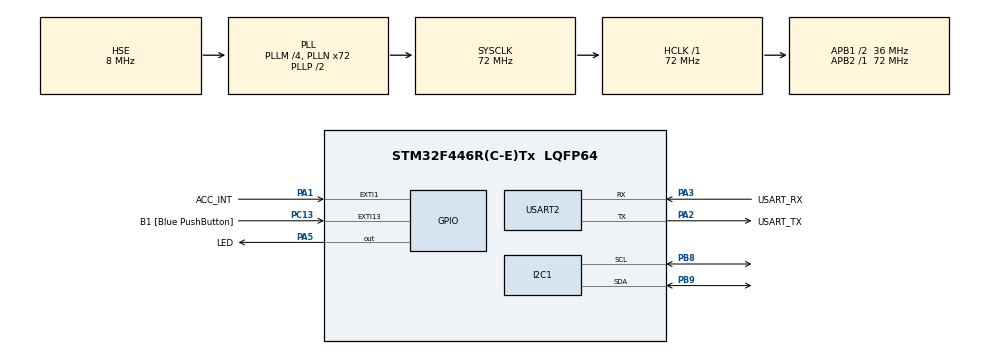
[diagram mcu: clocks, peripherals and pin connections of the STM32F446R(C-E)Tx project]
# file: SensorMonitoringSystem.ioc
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Dma.I2C1_RX.0.Direction=DMA_PERIPH_TO_MEMORY
Dma.I2C1_RX.0.FIFOMode=DMA_FIFOMODE_DISABLE
Dma.I2C1_RX.0.Instance=DMA1_Stream0
Dma.I2C1_RX.0.MemDataAlignment=DMA_MDATAALIGN_BYTE
Dma.I2C1_RX.0.MemInc=DMA_MINC_ENABLE
Dma.I2C1_RX.0.Mode=DMA_NORMAL
Dma.I2C1_RX.0.PeriphDataAlignment=DMA_PDATAALIGN_BYTE
Dma.I2C1_RX.0.PeriphInc=DMA_PINC_DISABLE
Dma.I2C1_RX.0.Priority=DMA_PRIORITY_HIGH
Dma.I2C1_TX.1.Direction=DMA_MEMORY_TO_PERIPH
Dma.I2C1_TX.1.FIFOMode=DMA_FIFOMODE_DISABLE
Dma.I2C1_TX.1.Instance=DMA1_Stream6
Dma.I2C1_TX.1.MemDataAlignment=DMA_MDATAALIGN_BYTE
Dma.I2C1_TX.1.MemInc=DMA_MINC_ENABLE
Dma.I2C1_TX.1.Mode=DMA_NORMAL
Dma.I2C1_TX.1.PeriphDataAlignment=DMA_PDATAALIGN_BYTE
Dma.I2C1_TX.1.PeriphInc=DMA_PINC_DISABLE
Dma.I2C1_TX.1.Priority=DMA_PRIORITY_HIGH
Dma.Request0=I2C1_RX
Dma.Request1=I2C1_TX
FREERTOS.Tasks01=ledTask,-2,128,StartLEDTask,Default,NULL,Dynamic,NULL,NULL;uartTask,0,256,StartUART,Default,NULL,Dynamic,NULL,NULL
FREERTOS.configUSE_NEWLIB_REENTRANT=1
Mcu.Family=STM32F4
Mcu.Name=STM32F446R(C-E)Tx
Mcu.Package=LQFP64
NVIC.DMA1_Stream0_IRQn=true\:5\:0\:false\:false\:true\:true\:false\:true\:true
NVIC.DMA1_Stream6_IRQn=true\:5\:0\:false\:false\:true\:true\:false\:true\:true
NVIC.EXTI1_IRQn=true\:5\:0\:false\:false\:true\:true\:true\:true\:true
NVIC.PriorityGroup=NVIC_PRIORITYGROUP_4
NVIC.TIM1_UP_TIM10_IRQn=true\:15\:0\:false\:false\:true\:false\:false\:true\:true
NVIC.TimeBase=TIM1_UP_TIM10_IRQn
NVIC.TimeBaseIP=TIM1
PA1.GPIO_Label=ACC_INT
PA1.Signal=GPXTI1
PA13.GPIO_Label=TMS
PA13.Mode=Serial_Wire
PA13.Signal=SYS_JTMS-SWDIO
PA14.GPIO_Label=TCK
PA14.Mode=Serial_Wire
PA14.Signal=SYS_JTCK-SWCLK
PA2.GPIO_Label=USART_TX
PA2.Mode=Asynchronous
PA2.Signal=USART2_TX
PA3.GPIO_Label=USART_RX
PA3.Mode=Asynchronous
PA3.Signal=USART2_RX
PA5.GPIO_Label=LED
PA5.Signal=GPIO_Output
PB3.GPIO_Label=SWO
PB3.Signal=SYS_JTDO-SWO
PB8.Mode=I2C
PB8.Signal=I2C1_SCL
PB9.Mode=I2C
PB9.Signal=I2C1_SDA
PC13.GPIO_Label=B1 [Blue PushButton]
PC13.GPIO_ModeDefaultEXTI=GPIO_MODE_IT_FALLING
PC13.Signal=GPXTI13
PC14-OSC32_IN.Signal=RCC_OSC32_IN
PC15-OSC32_OUT.Signal=RCC_OSC32_OUT
PH0-OSC_IN.Mode=HSE-External-Oscillator
PH0-OSC_IN.Signal=RCC_OSC_IN
PH1-OSC_OUT.Mode=HSE-External-Oscillator
PH1-OSC_OUT.Signal=RCC_OSC_OUT
ProjectManager.HeapSize=0x200
ProjectManager.StackSize=0x400
ProjectManager.TargetToolchain=STM32CubeIDE
RCC.48MHZClocksFreq_Value=84000000
RCC.AHBFreq_Value=72000000
RCC.APB1CLKDivider=RCC_HCLK_DIV2
RCC.APB1Freq_Value=36000000
RCC.APB1TimFreq_Value=72000000
RCC.APB2Freq_Value=72000000
RCC.APB2TimFreq_Value=72000000
RCC.CortexFreq_Value=72000000
RCC.FLatency-AdvancedSettings=FLASH_LATENCY_2
RCC.HCLKFreq_Value=72000000
RCC.HSE_VALUE=8000000
RCC.HSI_VALUE=16000000
RCC.PLLM=4
RCC.PLLN=72
RCC.PLLQ=3
RCC.PLLSourceVirtual=RCC_PLLSOURCE_HSE
RCC.SYSCLKFreq_VALUE=72000000
RCC.SYSCLKSource=RCC_SYSCLKSOURCE_PLLCLK
RCC.USBFreq_Value=48000000
RCC.VCOOutputFreq_Value=144000000
USART2.VirtualMode=VM_ASYNC
VP_FREERTOS_VS_CMSIS_V1.Mode=CMSIS_V1
VP_SYS_VS_tim1.Mode=TIM1
board=NUCLEO-F446RE

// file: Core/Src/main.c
/* USER CODE BEGIN Header */
/**
  ******************************************************************************
  * @file           : main.c
  * @brief          : Main program body
  ******************************************************************************
  * @attention
  *
  * Copyright (c) 2025 STMicroelectronics.
  * All rights reserved.
  *
  * This software is licensed under terms that can be found in the LICENSE file
  * in the root directory of this software component.
  * If no LICENSE file comes with this software, it is provided AS-IS.
  *
  ******************************************************************************
  */
/* USER CODE END Header */
#include "main.h"
#include "cmsis_os.h"

/* USER CODE BEGIN Includes */
#include "ADXL345.h"
#include "UART.h"
/* USER CODE END Includes */

I2C_HandleTypeDef hi2c1;
DMA_HandleTypeDef hdma_i2c1_rx;
DMA_HandleTypeDef hdma_i2c1_tx;

UART_HandleTypeDef huart2;

osThreadId ledTaskHandle;
osThreadId uartTaskHandle;
/* USER CODE BEGIN PV */

ADXL345 acc;
UART uart_print;

uint8_t accDataReady;

/* USER CODE END PV */

void SystemClock_Config(void);
static void MX_GPIO_Init(void);
static void MX_DMA_Init(void);
static void MX_USART2_UART_Init(void);
static void MX_I2C1_Init(void);
void StartLEDTask(void const * argument);
void StartUART(void const * argument);

/* USER CODE BEGIN 0 */

/*
 * On DATA_READY interrupt from ADXL345 start DMA read
 */
void HAL_GPIO_EXTI_Callback ( uint16_t GPIO_Pin ){
	if ( GPIO_Pin == ACC_INT_Pin ){

		ADXL345_ReadAccelerometerDMA(&acc);

	}

}

/*
 * I2C DMA Receive complete callback
 */
void HAL_I2C_MemRxCpltCallback( I2C_HandleTypeDef *hi2c1 ){

	if(hi2c1->Instance == I2C1){

		ADXL345_ReadAccelerometerDMA_Complete( &acc );

	}
}

/* USER CODE END 0 */

int main(void)
{

  /* MCU Configuration--------------------------------------------------------*/

  /* Reset of all peripherals, Initializes the Flash interface and the Systick. */
  HAL_Init();

  /* Configure the system clock */
  SystemClock_Config();

  /* Initialize all configured peripherals */
  MX_GPIO_Init();
  MX_DMA_Init();
  MX_USART2_UART_Init();
  MX_I2C1_Init();
  /* USER CODE BEGIN 2 */

  /*Initialize UART*/
  UART_Init( &uart_print, &huart2 );

  /* Initialize Accelerometer */
  ADXL345_Init( &acc, &hi2c1 );

  /* USER CODE END 2 */

  /* Create the thread(s) */
  /* definition and creation of ledTask */
  osThreadDef(ledTask, StartLEDTask, osPriorityLow, 0, 128);
  ledTaskHandle = osThreadCreate(osThread(ledTask), NULL);

  /* definition and creation of uartTask */
  osThreadDef(uartTask, StartUART, osPriorityNormal, 0, 256);
  uartTaskHandle = osThreadCreate(osThread(uartTask), NULL);

  /* Start scheduler */
  osKernelStart();

  /* We should never get here as control is now taken by the scheduler */

  /* Infinite loop */
  while (1)
  {

  }
}

void SystemClock_Config(void)
{
  RCC_OscInitTypeDef RCC_OscInitStruct = {0};
  RCC_ClkInitTypeDef RCC_ClkInitStruct = {0};

  /** Configure the main internal regulator output voltage
  */
  __HAL_RCC_PWR_CLK_ENABLE();
  __HAL_PWR_VOLTAGESCALING_CONFIG(PWR_REGULATOR_VOLTAGE_SCALE3);

  /** Initializes the RCC Oscillators according to the specified parameters
  * in the RCC_OscInitTypeDef structure.
  */
  RCC_OscInitStruct.OscillatorType = RCC_OSCILLATORTYPE_HSE;
  RCC_OscInitStruct.HSEState = RCC_HSE_ON;
  RCC_OscInitStruct.PLL.PLLState = RCC_PLL_ON;
  RCC_OscInitStruct.PLL.PLLSource = RCC_PLLSOURCE_HSE;
  RCC_OscInitStruct.PLL.PLLM = 4;
  RCC_OscInitStruct.PLL.PLLN = 72;
  RCC_OscInitStruct.PLL.PLLP = RCC_PLLP_DIV2;
  RCC_OscInitStruct.PLL.PLLQ = 3;
  RCC_OscInitStruct.PLL.PLLR = 2;
  if (HAL_RCC_OscConfig(&RCC_OscInitStruct) != HAL_OK)
  {
    Error_Handler();
  }

  /** Initializes the CPU, AHB and APB buses clocks
  */
  RCC_ClkInitStruct.ClockType = RCC_CLOCKTYPE_HCLK|RCC_CLOCKTYPE_SYSCLK
                              |RCC_CLOCKTYPE_PCLK1|RCC_CLOCKTYPE_PCLK2;
  RCC_ClkInitStruct.SYSCLKSource = RCC_SYSCLKSOURCE_PLLCLK;
  RCC_ClkInitStruct.AHBCLKDivider = RCC_SYSCLK_DIV1;
  RCC_ClkInitStruct.APB1CLKDivider = RCC_HCLK_DIV2;
  RCC_ClkInitStruct.APB2CLKDivider = RCC_HCLK_DIV1;

  if (HAL_RCC_ClockConfig(&RCC_ClkInitStruct, FLASH_LATENCY_2) != HAL_OK)
  {
    Error_Handler();
  }
}

static void MX_I2C1_Init(void)
{

  hi2c1.Instance = I2C1;
  hi2c1.Init.ClockSpeed = 100000;
  hi2c1.Init.DutyCycle = I2C_DUTYCYCLE_2;
  hi2c1.Init.OwnAddress1 = 0;
  hi2c1.Init.AddressingMode = I2C_ADDRESSINGMODE_7BIT;
  hi2c1.Init.DualAddressMode = I2C_DUALADDRESS_DISABLE;
  hi2c1.Init.OwnAddress2 = 0;
  hi2c1.Init.GeneralCallMode = I2C_GENERALCALL_DISABLE;
  hi2c1.Init.NoStretchMode = I2C_NOSTRETCH_DISABLE;
  if (HAL_I2C_Init(&hi2c1) != HAL_OK)
  {
    Error_Handler();
  }

}

static void MX_USART2_UART_Init(void)
{

  huart2.Instance = USART2;
  huart2.Init.BaudRate = 115200;
  huart2.Init.WordLength = UART_WORDLENGTH_8B;
  huart2.Init.StopBits = UART_STOPBITS_1;
  huart2.Init.Parity = UART_PARITY_NONE;
  huart2.Init.Mode = UART_MODE_TX_RX;
  huart2.Init.HwFlowCtl = UART_HWCONTROL_NONE;
  huart2.Init.OverSampling = UART_OVERSAMPLING_16;
  if (HAL_UART_Init(&huart2) != HAL_OK)
  {
    Error_Handler();
  }

}

static void MX_DMA_Init(void)
{

  /* DMA controller clock enable */
  __HAL_RCC_DMA1_CLK_ENABLE();

  /* DMA interrupt init */
  /* DMA1_Stream0_IRQn interrupt configuration */
  HAL_NVIC_SetPriority(DMA1_Stream0_IRQn, 5, 0);
  HAL_NVIC_EnableIRQ(DMA1_Stream0_IRQn);
  /* DMA1_Stream6_IRQn interrupt configuration */
  HAL_NVIC_SetPriority(DMA1_Stream6_IRQn, 5, 0);
  HAL_NVIC_EnableIRQ(DMA1_Stream6_IRQn);

}

static void MX_GPIO_Init(void)
{
  GPIO_InitTypeDef GPIO_InitStruct = {0};

  /* GPIO Ports Clock Enable */
  __HAL_RCC_GPIOC_CLK_ENABLE();
  __HAL_RCC_GPIOH_CLK_ENABLE();
  __HAL_RCC_GPIOA_CLK_ENABLE();
  __HAL_RCC_GPIOB_CLK_ENABLE();

  /*Configure GPIO pin Output Level */
  HAL_GPIO_WritePin(LED_GPIO_Port, LED_Pin, GPIO_PIN_RESET);

  /*Configure GPIO pin : B1_Pin */
  GPIO_InitStruct.Pin = B1_Pin;
  GPIO_InitStruct.Mode = GPIO_MODE_IT_FALLING;
  GPIO_InitStruct.Pull = GPIO_NOPULL;
  HAL_GPIO_Init(B1_GPIO_Port, &GPIO_InitStruct);

  /*Configure GPIO pin : ACC_INT_Pin */
  GPIO_InitStruct.Pin = ACC_INT_Pin;
  GPIO_InitStruct.Mode = GPIO_MODE_IT_RISING;
  GPIO_InitStruct.Pull = GPIO_NOPULL;
  HAL_GPIO_Init(ACC_INT_GPIO_Port, &GPIO_InitStruct);

  /*Configure GPIO pin : LED_Pin */
  GPIO_InitStruct.Pin = LED_Pin;
  GPIO_InitStruct.Mode = GPIO_MODE_OUTPUT_PP;
  GPIO_InitStruct.Pull = GPIO_NOPULL;
  GPIO_InitStruct.Speed = GPIO_SPEED_FREQ_LOW;
  HAL_GPIO_Init(LED_GPIO_Port, &GPIO_InitStruct);

  /* EXTI interrupt init*/
  HAL_NVIC_SetPriority(EXTI1_IRQn, 5, 0);
  HAL_NVIC_EnableIRQ(EXTI1_IRQn);

}

void StartLEDTask(void const * argument)
{
  /* USER CODE BEGIN 5 */
  /* Infinite loop */
  for(;;)
  {
	HAL_GPIO_TogglePin(LED_GPIO_Port, LED_Pin);
	osDelay(1000);
  }
  /* USER CODE END 5 */
}

void StartUART(void const * argument)
{
  /* USER CODE BEGIN StartUART */
  /* Infinite loop */
  /*
   * Transmit Data via UART every 0.5s or 500ms
   */
  for(;;)
  {
	UART_Print_String(&uart_print, "X: ");
	UART_Print_Float(&uart_print, acc.acc_mps2[0], 3);
	UART_Print_String(&uart_print, " g, Y: ");
	UART_Print_Float(&uart_print, acc.acc_mps2[1], 3);
	UART_Print_String(&uart_print, " g, Z: ");
	UART_Print_Float(&uart_print, acc.acc_mps2[2], 3);
	UART_Print_String(&uart_print, " g");
	UART_Print_NewLine(&uart_print);
	osDelay(500);
  }
  /* USER CODE END StartUART */
}

void HAL_TIM_PeriodElapsedCallback(TIM_HandleTypeDef *htim)
{
  if (htim->Instance == TIM1)
  {
    HAL_IncTick();
  }
}

void Error_Handler(void)
{
  __disable_irq();
  while (1)
  {
  }
}
